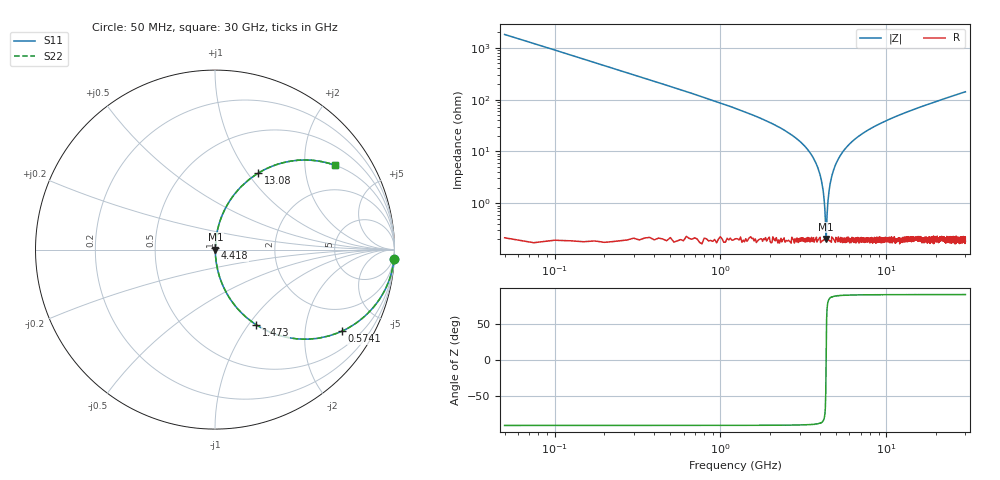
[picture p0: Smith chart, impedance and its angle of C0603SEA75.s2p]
!	AVX Thin Film Operation 	Date: April 2014
!	Description: Accu-P® Series, Thin Film  SMD RF Capacitor
!	Part Number: 06031JA75PBSTR
# MHZ S MA R 50
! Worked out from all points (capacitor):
!   1201 points, 50 MHz to 30 GHz, reference 50 ohm
!   read as one part in series: C = 1.75 pF near 199.8 MHz
!   lowest |Z| = 203 mohm at 4.343 GHz (marker M1)
!   series resonance near 4.338 GHz, so ESL is about 770 pH
!   S11 on the Smith chart (normalised r, x): 50 MHz: 1, -36; 574.1 MHz: 1.00, -3.11; 1.473 GHz: 1.00, -1.09; 4.418 GHz: 1.00, +0.02; 13.08 GHz: 1.00, +1.12; 30 GHz: 1.00, +2.84
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50  0.998 -3.1  0.055 86.8  0.055 86.8  0.998 -3.1
299.583  0.949 -18.3  0.314 71.7  0.314 71.7  0.949 -18.3
574.125  0.841 -32.7  0.54 57.2  0.54 57.2  0.841 -32.7
923.542  0.684 -46.7  0.728 43.2  0.728 43.2  0.684 -46.7
1472.625  0.479 -61.2  0.876 28.6  0.876 28.6  0.479 -61.2
2845.333  0.179 -79.1  0.982 10.3  0.982 10.3  0.179 -79.1
3594.083  0.079 -84.0  0.995 4.5  0.995 4.5  0.079 -84.0
3993.417  0.035 -84.8  0.997 2.0  0.997 2.0  0.035 -84.8
4118.208  0.022 -83.6  0.998 1.2  0.998 1.2  0.022 -83.6
4243  0.009518 -77.5  0.998 0.5  0.998 0.5  0.009518 -77.5
4342.833  0.002011 12.0  0.998 -0.0  0.998 -0.0  0.002011 12.0
4417.708  0.007823 75.0  0.998 -0.4  0.998 -0.4  0.007823 75.0
4642.333  0.028 84.4  0.998 -1.6  0.998 -1.6  0.028 84.4
5041.667  0.063 84.6  0.996 -3.6  0.996 -3.6  0.063 84.6
5690.583  0.114 82.5  0.992 -6.6  0.992 -6.6  0.114 82.5
6688.917  0.184 78.8  0.981 -10.6  0.981 -10.6  0.184 78.8
10058.29  0.367 68.2  0.928 -21.5  0.928 -21.5  0.367 68.2
13078.25  0.489 60.5  0.87 -29.3  0.87 -29.3  0.489 60.5
15025  0.553 56.2  0.831 -33.6  0.831 -33.6  0.553 56.2
20016.67  0.677 47.3  0.735 -42.6  0.735 -42.6  0.677 47.3
25033.29  0.76 40.4  0.648 -49.5  0.648 -49.5  0.76 40.4
30000  0.817 35.1  0.576 -54.8  0.576 -54.8  0.817 35.1
